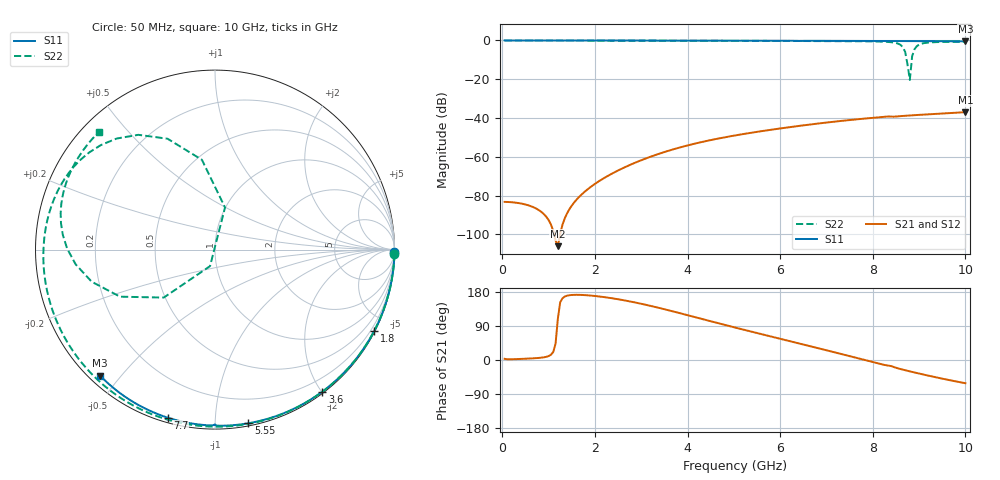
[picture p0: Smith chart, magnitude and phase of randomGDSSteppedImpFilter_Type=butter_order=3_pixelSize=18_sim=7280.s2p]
! freq	dB(S11)	phase(S11)	dB(S12)	phase(S12)
!  dB(S21)	phase(S21)	dB(S22)	phase(S22)
!S-par simulation data
#  GHz  S  DB  R 50
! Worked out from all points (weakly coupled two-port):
!   200 points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, 50 MHz to 10 GHz, reference 50 ohm
!   highest |S21| = -36.96 dB at 10 GHz (marker M1); lowest = -106.1 dB at 1.2 GHz (marker M2)
!   lowest |S11| = -0.4 dB at 10 GHz (marker M3), VSWR 39.22, Z = 1.52 - j22.1 ohm
!   |S11| at or under -10 dB: nowhere
!   |S22| runs from -20.3 to 0.0 dB; largest |S21 - S12| = 0
!   S11 on the Smith chart (normalised r, x): 50 MHz: open; 1.8 GHz: 0.04, -4.15; 3.6 GHz: 0.02, -2.01; 5.55 GHz: 0.02, -1.21; 7.7 GHz: 0.02, -0.76; 10 GHz: 0.03, -0.44
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0.05  -0.00 -0.8  -83.23 3.1  -83.23 3.1  -0.00 -1.4
1.2  -0.02 -18.2  -106.06 109.0  -106.06 109.0  -0.04 -32.2
1.75  -0.03 -26.3  -78.59 171.5  -78.59 171.5  -0.06 -46.5
1.8  -0.03 -27.1  -77.56 171.1  -77.56 171.1  -0.06 -47.8
2.45  -0.05 -36.6  -67.63 161.4  -67.63 161.4  -0.08 -64.1
3.4  -0.07 -50.2  -58.30 137.1  -58.30 137.1  -0.11 -87.0
3.6  -0.07 -53.0  -56.78 131.0  -56.78 131.0  -0.12 -91.7
5.05  -0.11 -72.6  -48.87 84.9  -48.87 84.9  -0.18 -124.2
5.55  -0.13 -79.1  -46.94 69.6  -46.94 69.6  -0.21 -135.1
6.7  -0.18 -93.5  -43.17 34.9  -43.17 34.9  -0.30 -160.6
7.7  -0.24 -105.6  -40.56 3.7  -40.56 3.7  -0.43 174.6
8.35  -0.29 -113.3  -39.21 -15.0  -39.21 -15.0  -0.80 149.5
8.5  -0.30 -115.0  -39.22 -20.5  -39.22 -20.5  -1.29 137.5
8.65  -0.31 -116.8  -38.92 -25.5  -38.92 -25.5  -3.45 113.2
8.7  -0.32 -117.3  -38.84 -27.0  -38.84 -27.0  -5.93 98.3
8.75  -0.32 -117.9  -38.75 -28.5  -38.75 -28.5  -12.36 76.6
8.8  -0.32 -118.5  -38.67 -30.0  -38.67 -30.0  -20.35 -106.7
8.85  -0.33 -119.1  -38.59 -31.5  -38.59 -31.5  -8.15 -136.9
8.9  -0.33 -119.7  -38.52 -32.9  -38.52 -32.9  -4.57 -153.6
9  -0.34 -120.8  -38.37 -35.8  -38.37 -35.8  -2.15 -173.9
9.35  -0.38 -124.8  -37.88 -45.3  -37.88 -45.3  -0.87 158.3
10  -0.44 -132.3  -36.96 -61.3  -36.96 -61.3  -0.72 134.5
